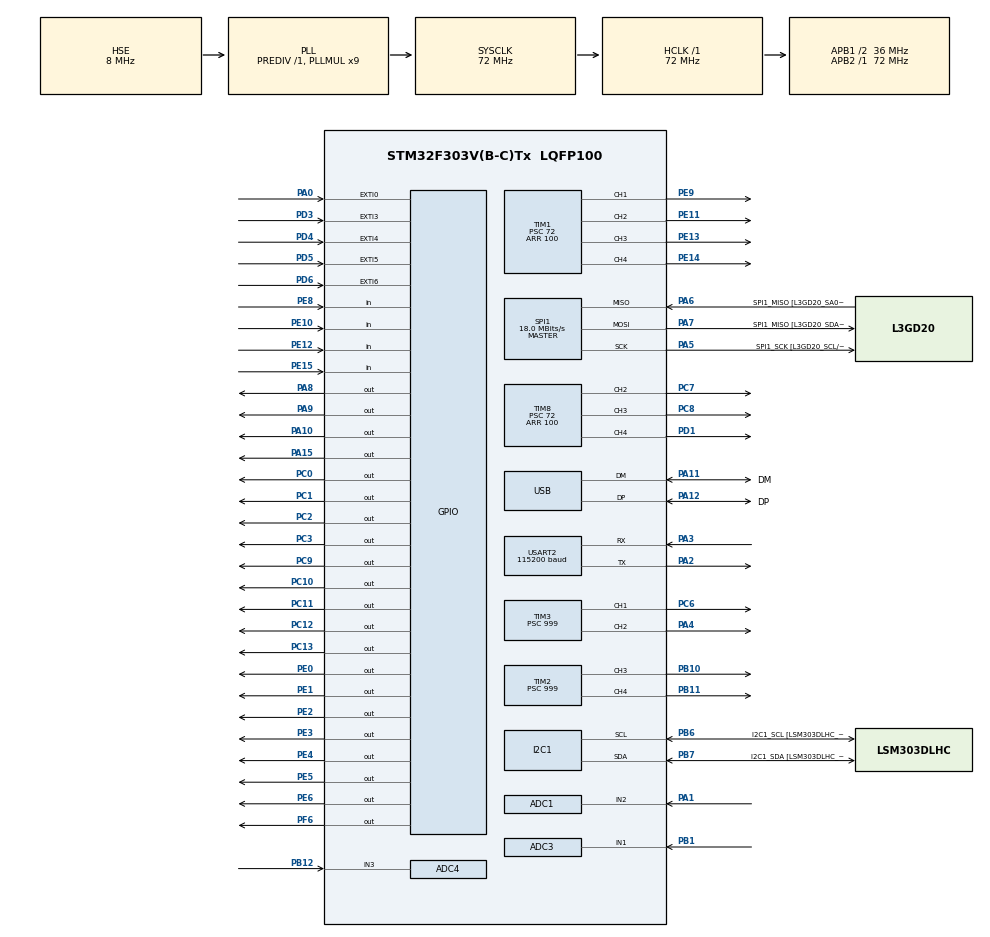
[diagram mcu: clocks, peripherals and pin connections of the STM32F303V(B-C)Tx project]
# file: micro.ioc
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ADC1.Channel-0\#ChannelRegularConversion=ADC_CHANNEL_2
ADC1.ClockPrescaler=ADC_CLOCK_ASYNC_DIV1
ADC1.ContinuousConvMode=DISABLE
ADC1.DMAContinuousRequests=DISABLE
ADC1.DataAlign=ADC_DATAALIGN_RIGHT
ADC1.DiscontinuousConvMode=DISABLE
ADC1.EOCSelection=ADC_EOC_SINGLE_CONV
ADC1.EnableAnalogWatchDog1=false
ADC1.EnableAnalogWatchDog2=false
ADC1.EnableAnalogWatchDog3=false
ADC1.EnableInjectedConversion=ENABLE
ADC1.EnableRegularConversion=ENABLE
ADC1.ExternalTrigConv=ADC_SOFTWARE_START
ADC1.ExternalTrigConvEdge=ADC_EXTERNALTRIGCONVEDGE_NONE
ADC1.InjNumberOfConversion=0
ADC1.LowPowerAutoWait=DISABLE
ADC1.NbrOfConversion=1
ADC1.NbrOfConversionFlag=1
ADC1.Offset-0\#ChannelRegularConversion=0
ADC1.OffsetNumber-0\#ChannelRegularConversion=ADC_OFFSET_NONE
ADC1.Overrun=ADC_OVR_DATA_OVERWRITTEN
ADC1.Rank-0\#ChannelRegularConversion=1
ADC1.Resolution=ADC_RESOLUTION_6B
ADC1.SamplingTime-0\#ChannelRegularConversion=ADC_SAMPLETIME_601CYCLES_5
ADC1.ScanConvMode=ADC_SCAN_DISABLE
ADC1.master=1
ADC3.Channel-0\#ChannelRegularConversion=ADC_CHANNEL_1
ADC3.ClockPrescaler=ADC_CLOCK_ASYNC_DIV1
ADC3.ContinuousConvMode=DISABLE
ADC3.DMAContinuousRequests=DISABLE
ADC3.DataAlign=ADC_DATAALIGN_RIGHT
ADC3.DiscontinuousConvMode=DISABLE
ADC3.EOCSelection=ADC_EOC_SINGLE_CONV
ADC3.EnableAnalogWatchDog1=false
ADC3.EnableAnalogWatchDog2=false
ADC3.EnableAnalogWatchDog3=false
ADC3.EnableInjectedConversion=ENABLE
ADC3.EnableRegularConversion=ENABLE
ADC3.ExternalTrigConv=ADC_SOFTWARE_START
ADC3.ExternalTrigConvEdge=ADC_EXTERNALTRIGCONVEDGE_NONE
ADC3.InjNumberOfConversion=0
ADC3.LowPowerAutoWait=DISABLE
ADC3.NbrOfConversion=1
ADC3.NbrOfConversionFlag=1
ADC3.Offset-0\#ChannelRegularConversion=0
ADC3.OffsetNumber-0\#ChannelRegularConversion=ADC_OFFSET_NONE
ADC3.Overrun=ADC_OVR_DATA_OVERWRITTEN
ADC3.Rank-0\#ChannelRegularConversion=1
ADC3.Resolution=ADC_RESOLUTION_6B
ADC3.SamplingTime-0\#ChannelRegularConversion=ADC_SAMPLETIME_601CYCLES_5
ADC3.ScanConvMode=ADC_SCAN_DISABLE
ADC3.master=1
ADC4.Channel-0\#ChannelRegularConversion=ADC_CHANNEL_3
ADC4.ClockPrescaler=ADC_CLOCK_ASYNC_DIV1
ADC4.ContinuousConvMode=DISABLE
ADC4.DMAContinuousRequests=DISABLE
ADC4.DataAlign=ADC_DATAALIGN_RIGHT
ADC4.DiscontinuousConvMode=DISABLE
ADC4.EOCSelection=ADC_EOC_SINGLE_CONV
ADC4.EnableAnalogWatchDog1=false
ADC4.EnableAnalogWatchDog2=false
ADC4.EnableAnalogWatchDog3=false
ADC4.EnableInjectedConversion=ENABLE
ADC4.EnableRegularConversion=ENABLE
ADC4.ExternalTrigConv=ADC_SOFTWARE_START
ADC4.ExternalTrigConvEdge=ADC_EXTERNALTRIGCONVEDGE_NONE
ADC4.InjNumberOfConversion=0
ADC4.LowPowerAutoWait=DISABLE
ADC4.NbrOfConversion=1
ADC4.NbrOfConversionFlag=1
ADC4.Offset-0\#ChannelRegularConversion=0
ADC4.OffsetNumber-0\#ChannelRegularConversion=ADC_OFFSET_NONE
ADC4.Overrun=ADC_OVR_DATA_OVERWRITTEN
ADC4.Rank-0\#ChannelRegularConversion=1
ADC4.Resolution=ADC_RESOLUTION_12B
ADC4.SamplingTime-0\#ChannelRegularConversion=ADC_SAMPLETIME_601CYCLES_5
ADC4.ScanConvMode=ADC_SCAN_DISABLE
I2C1.Timing-I2C=0x2000090E
Mcu.Family=STM32F3
Mcu.Name=STM32F303V(B-C)Tx
Mcu.Package=LQFP100
NVIC.ADC1_2_IRQn=true\:3\:3\:true\:false\:true\:true
NVIC.ADC3_IRQn=true\:3\:0\:true\:false\:true\:true
NVIC.ADC4_IRQn=true\:2\:1\:true\:false\:true\:true
NVIC.EXTI0_IRQn=true\:1\:1\:true\:false\:true\:true
NVIC.EXTI3_IRQn=true\:1\:1\:true\:false\:true\:true
NVIC.EXTI4_IRQn=true\:1\:1\:true\:false\:true\:true
NVIC.EXTI9_5_IRQn=true\:1\:1\:true\:false\:true\:true
NVIC.PriorityGroup=NVIC_PRIORITYGROUP_2
NVIC.TIM2_IRQn=true\:2\:3\:true\:false\:true\:true
NVIC.TIM3_IRQn=true\:1\:0\:true\:false\:true\:true
NVIC.TIM4_IRQn=true\:1\:1\:true\:false\:true\:true
NVIC.USART2_IRQn=true\:1\:2\:true\:false\:true\:true
PA0.GPIO_PuPd=GPIO_PULLDOWN
PA0.Signal=GPXTI0
PA1.Mode=IN2-Single-Ended
PA1.Signal=ADC1_IN2
PA10.Signal=GPIO_Output
PA11.GPIO_Label=DM
PA11.Mode=Device
PA11.Signal=USB_DM
PA12.GPIO_Label=DP
PA12.Mode=Device
PA12.Signal=USB_DP
PA13.GPIO_Label=SWDIO
PA13.Mode=Serial_Wire
PA13.Signal=SYS_JTMS-SWDIO
PA14.GPIO_Label=SWCLK
PA14.Mode=Serial_Wire
PA14.Signal=SYS_JTCK-SWCLK
PA15.Signal=GPIO_Output
PA2.Mode=Asynchronous
PA2.Signal=USART2_TX
PA3.Mode=Asynchronous
PA3.Signal=USART2_RX
PA4.Signal=S_TIM3_CH2
PA5.GPIO_Label=SPI1_SCK [L3GD20_SCL/SPC]
PA5.Mode=Full_Duplex_Master
PA5.Signal=SPI1_SCK
PA6.GPIO_Label=SPI1_MISO [L3GD20_SA0/SDO]
PA6.Mode=Full_Duplex_Master
PA6.Signal=SPI1_MISO
PA7.GPIO_Label=SPI1_MISO [L3GD20_SDA/SDI/SDO]
PA7.Mode=Full_Duplex_Master
PA7.Signal=SPI1_MOSI
PA8.Signal=GPIO_Output
PA9.Signal=GPIO_Output
PB1.Mode=IN1-Single-Ended
PB1.Signal=ADC3_IN1
PB10.Signal=S_TIM2_CH3
PB11.Signal=S_TIM2_CH4
PB12.Mode=IN3-Single-Ended
PB12.Signal=ADC4_IN3
PB3.GPIO_Label=SWO
PB3.Signal=SYS_JTDO-TRACESWO
PB6.GPIO_Label=I2C1_SCL [LSM303DLHC_SCL]
PB6.Mode=I2C
PB6.Signal=I2C1_SCL
PB7.GPIO_Label=I2C1_SDA [LSM303DLHC_SDA]
PB7.Mode=I2C
PB7.Signal=I2C1_SDA
PC0.GPIO_PuPd=GPIO_NOPULL
PC0.Signal=GPIO_Output
PC1.Signal=GPIO_Output
PC10.Signal=GPIO_Output
PC11.Signal=GPIO_Output
PC12.Signal=GPIO_Output
PC13.Signal=GPIO_Output
PC14-OSC32_IN.GPIO_Label=OSC32_IN
PC14-OSC32_IN.Signal=RCC_OSC32_IN
PC15-OSC32_OUT.GPIO_Label=OSC32_OUT
PC15-OSC32_OUT.Signal=RCC_OSC32_OUT
PC2.Signal=GPIO_Output
PC3.Signal=GPIO_Output
PC6.Signal=S_TIM3_CH1
PC7.Signal=S_TIM8_CH2
PC8.Signal=S_TIM8_CH3
PC9.Signal=GPIO_Output
PD1.Signal=S_TIM8_CH4
PD3.GPIO_PuPd=GPIO_PULLDOWN
PD3.Signal=GPXTI3
PD4.GPIO_PuPd=GPIO_PULLDOWN
PD4.Signal=GPXTI4
PD5.GPIO_PuPd=GPIO_PULLDOWN
PD5.Signal=GPXTI5
PD6.GPIO_PuPd=GPIO_PULLDOWN
PD6.Signal=GPXTI6
PE0.Signal=GPIO_Output
PE1.Signal=GPIO_Output
PE10.Signal=GPIO_Input
PE11.Signal=S_TIM1_CH2
PE12.Signal=GPIO_Input
PE13.Signal=S_TIM1_CH3
PE14.Signal=S_TIM1_CH4
PE15.Signal=GPIO_Input
PE2.Signal=GPIO_Output
PE3.Signal=GPIO_Output
PE4.Signal=GPIO_Output
PE5.Signal=GPIO_Output
PE6.Signal=GPIO_Output
PE8.Signal=GPIO_Input
PE9.Signal=S_TIM1_CH1
PF0-OSC_IN.GPIO_Label=OSC_IN
PF0-OSC_IN.Mode=HSE-External-Clock-Source
PF0-OSC_IN.Signal=RCC_OSC_IN
PF1-OSC_OUT.GPIO_Label=OSC_OUT
PF1-OSC_OUT.Signal=RCC_OSC_OUT
PF6.Signal=GPIO_Output
ProjectManager.HeapSize=0x200
ProjectManager.StackSize=0x400
ProjectManager.TargetToolchain=MDK-ARM V5
RCC.AHBFreq_Value=72000000
RCC.APB1CLKDivider=RCC_HCLK_DIV2
RCC.APB1Freq_Value=36000000
RCC.APB1TimFreq_Value=72000000
RCC.APB2Freq_Value=72000000
RCC.APB2TimFreq_Value=72000000
RCC.CortexFreq_Value=72000000
RCC.HCLKFreq_Value=72000000
RCC.HSE_VALUE=8000000
RCC.HSI_VALUE=8000000
RCC.LSE_VALUE=32768
RCC.PLLMUL=RCC_PLL_MUL9
RCC.PRESCALERUSB=RCC_USBCLKSOURCE_PLL_DIV1_5
RCC.SYSCLKFreq_VALUE=72000000
RCC.SYSCLKSourceVirtual=RCC_SYSCLKSOURCE_PLLCLK
RCC.USBFreq_Value=48000000
SH.S_TIM1_CH1.0=TIM1_CH1,PWM Generation1 CH1
SH.S_TIM1_CH2.0=TIM1_CH2,PWM Generation2 CH2
SH.S_TIM1_CH3.0=TIM1_CH3,PWM Generation3 CH3
SH.S_TIM1_CH4.0=TIM1_CH4,PWM Generation4 CH4
SH.S_TIM2_CH3.0=TIM2_CH3,PWM Generation3 CH3
SH.S_TIM2_CH4.0=TIM2_CH4,PWM Generation4 CH4
SH.S_TIM3_CH1.0=TIM3_CH1,PWM Generation1 CH1
SH.S_TIM3_CH2.0=TIM3_CH2,PWM Generation2 CH2
SH.S_TIM8_CH2.0=TIM8_CH2,PWM Generation2 CH2
SH.S_TIM8_CH3.0=TIM8_CH3,PWM Generation3 CH3
SH.S_TIM8_CH4.0=TIM8_CH4,PWM Generation4 CH4
SPI1.BaudRatePrescaler=SPI_BAUDRATEPRESCALER_4
SPI1.BaudRatePrescaler-Full_Duplex_Master=SPI_BAUDRATEPRESCALER_2
SPI1.CalculateBaudRate=18.0 MBits/s
SPI1.CalculateBaudRate-Full_Duplex_Master=24.0 MBits/s
SPI1.Direction=SPI_DIRECTION_2LINES
SPI1.Mode=SPI_MODE_MASTER
SPI1.Mode-Full_Duplex_Master=SPI_MODE_MASTER
SPI1.VirtualType=VM_MASTER
TIM1.Channel-PWM\ Generation1\ CH1=TIM_CHANNEL_1
TIM1.Channel-PWM\ Generation2\ CH2=TIM_CHANNEL_2
TIM1.Channel-PWM\ Generation3\ CH3=TIM_CHANNEL_3
TIM1.Channel-PWM\ Generation4\ CH4=TIM_CHANNEL_4
TIM1.Period=100
TIM1.Prescaler=72
TIM2.Channel-PWM\ Generation3\ CH3=TIM_CHANNEL_3
TIM2.Channel-PWM\ Generation4\ CH4=TIM_CHANNEL_4
TIM2.Period=720
TIM2.Prescaler=999
TIM3.Channel-PWM\ Generation1\ CH1=TIM_CHANNEL_1
TIM3.Channel-PWM\ Generation2\ CH2=TIM_CHANNEL_2
TIM3.Period=72
TIM3.Prescaler=999
TIM4.Period=1080
TIM4.Prescaler=999
TIM8.Channel-PWM\ Generation2\ CH2=TIM_CHANNEL_2
TIM8.Channel-PWM\ Generation3\ CH3=TIM_CHANNEL_3
TIM8.Channel-PWM\ Generation4\ CH4=TIM_CHANNEL_4
TIM8.Period=100
TIM8.Prescaler=72
USART2.BaudRate=115200
USART2.VirtualMode-Asynchronous=VM_ASYNC
VP_TIM1_VS_ClockSourceINT.Mode=Internal
VP_TIM2_VS_ClockSourceINT.Mode=Internal
VP_TIM3_VS_ClockSourceINT.Mode=Internal
VP_TIM4_VS_ClockSourceINT.Mode=Internal
VP_TIM8_VS_ClockSourceINT.Mode=Internal
board=STM32F3DISCOVERY

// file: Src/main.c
/**
  ******************************************************************************
  * @file           : main.c
  * @brief          : Main program body
  ******************************************************************************
  ** This notice applies to any and all portions of this file
  * that are not between comment pairs USER CODE BEGIN and
  * USER CODE END. Other portions of this file, whether
  * inserted by the user or by software development tools
  * are owned by their respective copyright owners.
  *
  * COPYRIGHT(c) 2019 STMicroelectronics
  *
  * Redistribution and use in source and binary forms, with or without modification,
  * are permitted provided that the following conditions are met:
  *   1. Redistributions of source code must retain the above copyright notice,
  *      this list of conditions and the following disclaimer.
  *   2. Redistributions in binary form must reproduce the above copyright notice,
  *      this list of conditions and the following disclaimer in the documentation
  *      and/or other materials provided with the distribution.
  *   3. Neither the name of STMicroelectronics nor the names of its contributors
  *      may be used to endorse or promote products derived from this software
  *      without specific prior written permission.
  *
  * THIS SOFTWARE IS PROVIDED BY THE COPYRIGHT HOLDERS AND CONTRIBUTORS "AS IS"
  * AND ANY EXPRESS OR IMPLIED WARRANTIES, INCLUDING, BUT NOT LIMITED TO, THE
  * IMPLIED WARRANTIES OF MERCHANTABILITY AND FITNESS FOR A PARTICULAR PURPOSE ARE
  * DISCLAIMED. IN NO EVENT SHALL THE COPYRIGHT HOLDER OR CONTRIBUTORS BE LIABLE
  * FOR ANY DIRECT, INDIRECT, INCIDENTAL, SPECIAL, EXEMPLARY, OR CONSEQUENTIAL
  * DAMAGES (INCLUDING, BUT NOT LIMITED TO, PROCUREMENT OF SUBSTITUTE GOODS OR
  * SERVICES; LOSS OF USE, DATA, OR PROFITS; OR BUSINESS INTERRUPTION) HOWEVER
  * CAUSED AND ON ANY THEORY OF LIABILITY, WHETHER IN CONTRACT, STRICT LIABILITY,
  * OR TORT (INCLUDING NEGLIGENCE OR OTHERWISE) ARISING IN ANY WAY OUT OF THE USE
  * OF THIS SOFTWARE, EVEN IF ADVISED OF THE POSSIBILITY OF SUCH DAMAGE.
  *
  ******************************************************************************
  */
#include "main.h"
#include "stm32f3xx_hal.h"

/* USER CODE BEGIN Includes */
#include "LiquidCrystal.h"
#include "uartUtil.h"
typedef unsigned char byte;
unsigned char data;
/* USER CODE END Includes */

ADC_HandleTypeDef hadc1;
ADC_HandleTypeDef hadc3;
ADC_HandleTypeDef hadc4;

I2C_HandleTypeDef hi2c1;

SPI_HandleTypeDef hspi1;

TIM_HandleTypeDef htim1;
TIM_HandleTypeDef htim2;
TIM_HandleTypeDef htim3;
TIM_HandleTypeDef htim4;
TIM_HandleTypeDef htim8;

UART_HandleTypeDef huart2;

PCD_HandleTypeDef hpcd_USB_FS;

/* USER CODE BEGIN PV */
/* Private variables ---------------------------------------------------------*/
byte zomby1[] = {
  0x04,
  0x0A,
  0x04,
  0x14,
  0x0E,
  0x05,
  0x04,
  0x1B
};

byte zomby2[] = {
  0x04,
  0x0E,
  0x04,
  0x1F,
  0x04,
  0x0E,
  0x0A,
  0x1B
};

byte zomby0[] = {
  0x00,
  0x00,
  0x04,
  0x0A,
  0x04,
  0x1F,
  0x04,
  0x1B
};

byte zomby3[] = {
  0x0E,
  0x1B,
  0x0E,
  0x04,
  0x1F,
  0x04,
  0x0E,
  0x1B
};

byte plant1[] = {
	0x04,
  0x0A,
  0x11,
  0x0A,
  0x04,
  0x04,
  0x04,
  0x04
};

byte plant2[] = {
	0x00,
  0x0E,
  0x11,
  0x1F,
  0x04,
  0x04,
  0x04,
  0x04
};

byte plant3[] = {
	0x1F,
  0x1B,
  0x11,
  0x1B,
  0x1B,
  0x1B,
  0x1B,
  0x1B
};

byte bonus[] = {
	0x00,
  0x04,
  0x0A,
  0x15,
  0x0A,
  0x15,
  0x04,
  0x04
};
/* USER CODE END PV */

void SystemClock_Config(void);
static void MX_GPIO_Init(void);
static void MX_I2C1_Init(void);
static void MX_SPI1_Init(void);
static void MX_USB_PCD_Init(void);
static void MX_ADC1_Init(void);
static void MX_ADC3_Init(void);
static void MX_TIM2_Init(void);
static void MX_ADC4_Init(void);
static void MX_USART2_UART_Init(void);
static void MX_TIM3_Init(void);
static void MX_TIM4_Init(void);
static void MX_TIM8_Init(void);
static void MX_TIM1_Init(void);

void HAL_TIM_MspPostInit(TIM_HandleTypeDef *htim);

/* USER CODE BEGIN PFP */
/* Private function prototypes -----------------------------------------------*/
void HAL_UART_RxCpltCallback(UART_HandleTypeDef *huart){
	if(huart->Instance == USART2){
		fill_buffer(data);
		HAL_UART_Receive_IT(&huart2, &data, sizeof(data));
	}
}
/* USER CODE END PFP */

int main(void)
{

  /* MCU Configuration----------------------------------------------------------*/

  /* Reset of all peripherals, Initializes the Flash interface and the Systick. */
  HAL_Init();

  /* Configure the system clock */
  SystemClock_Config();

  /* Initialize all configured peripherals */
  MX_GPIO_Init();
  MX_I2C1_Init();
  MX_SPI1_Init();
  MX_USB_PCD_Init();
  MX_ADC1_Init();
  MX_ADC3_Init();
  MX_TIM2_Init();
  MX_ADC4_Init();
  MX_USART2_UART_Init();
  MX_TIM3_Init();
  MX_TIM4_Init();
  MX_TIM8_Init();
  MX_TIM1_Init();
  /* USER CODE BEGIN 2 */
	LiquidCrystal(GPIOD, GPIO_PIN_8, GPIO_PIN_9, GPIO_PIN_10, GPIO_PIN_11, GPIO_PIN_12, GPIO_PIN_13, GPIO_PIN_14);
	begin(20,4);

	createChar(0, zomby0);
	createChar(1, zomby1);
	createChar(2, zomby2);
	createChar(3, zomby3);

	createChar(4, plant1);
	createChar(5, plant2);
	createChar(6, plant3);

	createChar(7, bonus);

	HAL_GPIO_WritePin(GPIOC, GPIO_PIN_0, 1);
	HAL_GPIO_WritePin(GPIOC, GPIO_PIN_1, 1);
	HAL_GPIO_WritePin(GPIOC, GPIO_PIN_2, 1);
	HAL_GPIO_WritePin(GPIOC, GPIO_PIN_3, 1);

	HAL_UART_Receive_IT(&huart2, &data, sizeof(data));
	HAL_TIM_Base_Start_IT(&htim2);
  /* USER CODE END 2 */

  /* Infinite loop */
  while (1)
  {

  }

}

void SystemClock_Config(void)
{

  RCC_OscInitTypeDef RCC_OscInitStruct;
  RCC_ClkInitTypeDef RCC_ClkInitStruct;
  RCC_PeriphCLKInitTypeDef PeriphClkInit;

    /**Initializes the CPU, AHB and APB busses clocks
    */
  RCC_OscInitStruct.OscillatorType = RCC_OSCILLATORTYPE_HSI|RCC_OSCILLATORTYPE_HSE;
  RCC_OscInitStruct.HSEState = RCC_HSE_BYPASS;
  RCC_OscInitStruct.HSEPredivValue = RCC_HSE_PREDIV_DIV1;
  RCC_OscInitStruct.HSIState = RCC_HSI_ON;
  RCC_OscInitStruct.HSICalibrationValue = 16;
  RCC_OscInitStruct.PLL.PLLState = RCC_PLL_ON;
  RCC_OscInitStruct.PLL.PLLSource = RCC_PLLSOURCE_HSE;
  RCC_OscInitStruct.PLL.PLLMUL = RCC_PLL_MUL9;
  if (HAL_RCC_OscConfig(&RCC_OscInitStruct) != HAL_OK)
  {
    _Error_Handler(__FILE__, __LINE__);
  }

    /**Initializes the CPU, AHB and APB busses clocks
    */
  RCC_ClkInitStruct.ClockType = RCC_CLOCKTYPE_HCLK|RCC_CLOCKTYPE_SYSCLK
                              |RCC_CLOCKTYPE_PCLK1|RCC_CLOCKTYPE_PCLK2;
  RCC_ClkInitStruct.SYSCLKSource = RCC_SYSCLKSOURCE_PLLCLK;
  RCC_ClkInitStruct.AHBCLKDivider = RCC_SYSCLK_DIV1;
  RCC_ClkInitStruct.APB1CLKDivider = RCC_HCLK_DIV2;
  RCC_ClkInitStruct.APB2CLKDivider = RCC_HCLK_DIV1;

  if (HAL_RCC_ClockConfig(&RCC_ClkInitStruct, FLASH_LATENCY_2) != HAL_OK)
  {
    _Error_Handler(__FILE__, __LINE__);
  }

  PeriphClkInit.PeriphClockSelection = RCC_PERIPHCLK_USB|RCC_PERIPHCLK_USART2
                              |RCC_PERIPHCLK_I2C1|RCC_PERIPHCLK_TIM1
                              |RCC_PERIPHCLK_TIM8|RCC_PERIPHCLK_ADC12
                              |RCC_PERIPHCLK_ADC34;
  PeriphClkInit.Usart2ClockSelection = RCC_USART2CLKSOURCE_PCLK1;
  PeriphClkInit.Adc12ClockSelection = RCC_ADC12PLLCLK_DIV1;
  PeriphClkInit.Adc34ClockSelection = RCC_ADC34PLLCLK_DIV1;
  PeriphClkInit.I2c1ClockSelection = RCC_I2C1CLKSOURCE_HSI;
  PeriphClkInit.USBClockSelection = RCC_USBCLKSOURCE_PLL_DIV1_5;
  PeriphClkInit.Tim1ClockSelection = RCC_TIM1CLK_HCLK;
  PeriphClkInit.Tim8ClockSelection = RCC_TIM8CLK_HCLK;
  if (HAL_RCCEx_PeriphCLKConfig(&PeriphClkInit) != HAL_OK)
  {
    _Error_Handler(__FILE__, __LINE__);
  }

    /**Configure the Systick interrupt time
    */
  HAL_SYSTICK_Config(HAL_RCC_GetHCLKFreq()/1000);

    /**Configure the Systick
    */
  HAL_SYSTICK_CLKSourceConfig(SYSTICK_CLKSOURCE_HCLK);

  /* SysTick_IRQn interrupt configuration */
  HAL_NVIC_SetPriority(SysTick_IRQn, 0, 0);
}

/* ADC1 init function */
static void MX_ADC1_Init(void)
{

  ADC_MultiModeTypeDef multimode;
  ADC_ChannelConfTypeDef sConfig;

    /**Common config
    */
  hadc1.Instance = ADC1;
  hadc1.Init.ClockPrescaler = ADC_CLOCK_ASYNC_DIV1;
  hadc1.Init.Resolution = ADC_RESOLUTION_6B;
  hadc1.Init.ScanConvMode = ADC_SCAN_DISABLE;
  hadc1.Init.ContinuousConvMode = DISABLE;
  hadc1.Init.DiscontinuousConvMode = DISABLE;
  hadc1.Init.ExternalTrigConvEdge = ADC_EXTERNALTRIGCONVEDGE_NONE;
  hadc1.Init.ExternalTrigConv = ADC_SOFTWARE_START;
  hadc1.Init.DataAlign = ADC_DATAALIGN_RIGHT;
  hadc1.Init.NbrOfConversion = 1;
  hadc1.Init.DMAContinuousRequests = DISABLE;
  hadc1.Init.EOCSelection = ADC_EOC_SINGLE_CONV;
  hadc1.Init.LowPowerAutoWait = DISABLE;
  hadc1.Init.Overrun = ADC_OVR_DATA_OVERWRITTEN;
  if (HAL_ADC_Init(&hadc1) != HAL_OK)
  {
    _Error_Handler(__FILE__, __LINE__);
  }

    /**Configure the ADC multi-mode
    */
  multimode.Mode = ADC_MODE_INDEPENDENT;
  if (HAL_ADCEx_MultiModeConfigChannel(&hadc1, &multimode) != HAL_OK)
  {
    _Error_Handler(__FILE__, __LINE__);
  }

    /**Configure Regular Channel
    */
  sConfig.Channel = ADC_CHANNEL_2;
  sConfig.Rank = ADC_REGULAR_RANK_1;
  sConfig.SingleDiff = ADC_SINGLE_ENDED;
  sConfig.SamplingTime = ADC_SAMPLETIME_601CYCLES_5;
  sConfig.OffsetNumber = ADC_OFFSET_NONE;
  sConfig.Offset = 0;
  if (HAL_ADC_ConfigChannel(&hadc1, &sConfig) != HAL_OK)
  {
    _Error_Handler(__FILE__, __LINE__);
  }

}

/* ADC3 init function */
static void MX_ADC3_Init(void)
{

  ADC_MultiModeTypeDef multimode;
  ADC_ChannelConfTypeDef sConfig;

    /**Common config
    */
  hadc3.Instance = ADC3;
  hadc3.Init.ClockPrescaler = ADC_CLOCK_ASYNC_DIV1;
  hadc3.Init.Resolution = ADC_RESOLUTION_6B;
  hadc3.Init.ScanConvMode = ADC_SCAN_DISABLE;
  hadc3.Init.ContinuousConvMode = DISABLE;
  hadc3.Init.DiscontinuousConvMode = DISABLE;
  hadc3.Init.ExternalTrigConvEdge = ADC_EXTERNALTRIGCONVEDGE_NONE;
  hadc3.Init.ExternalTrigConv = ADC_SOFTWARE_START;
  hadc3.Init.DataAlign = ADC_DATAALIGN_RIGHT;
  hadc3.Init.NbrOfConversion = 1;
  hadc3.Init.DMAContinuousRequests = DISABLE;
  hadc3.Init.EOCSelection = ADC_EOC_SINGLE_CONV;
  hadc3.Init.LowPowerAutoWait = DISABLE;
  hadc3.Init.Overrun = ADC_OVR_DATA_OVERWRITTEN;
  if (HAL_ADC_Init(&hadc3) != HAL_OK)
  {
    _Error_Handler(__FILE__, __LINE__);
  }

    /**Configure the ADC multi-mode
    */
  multimode.Mode = ADC_MODE_INDEPENDENT;
  if (HAL_ADCEx_MultiModeConfigChannel(&hadc3, &multimode) != HAL_OK)
  {
    _Error_Handler(__FILE__, __LINE__);
  }

    /**Configure Regular Channel
    */
  sConfig.Channel = ADC_CHANNEL_1;
  sConfig.Rank = ADC_REGULAR_RANK_1;
  sConfig.SingleDiff = ADC_SINGLE_ENDED;
  sConfig.SamplingTime = ADC_SAMPLETIME_601CYCLES_5;
  sConfig.OffsetNumber = ADC_OFFSET_NONE;
  sConfig.Offset = 0;
  if (HAL_ADC_ConfigChannel(&hadc3, &sConfig) != HAL_OK)
  {
    _Error_Handler(__FILE__, __LINE__);
  }

}

/* ADC4 init function */
static void MX_ADC4_Init(void)
{

  ADC_ChannelConfTypeDef sConfig;

    /**Common config
    */
  hadc4.Instance = ADC4;
  hadc4.Init.ClockPrescaler = ADC_CLOCK_ASYNC_DIV1;
  hadc4.Init.Resolution = ADC_RESOLUTION_12B;
  hadc4.Init.ScanConvMode = ADC_SCAN_DISABLE;
  hadc4.Init.ContinuousConvMode = DISABLE;
  hadc4.Init.DiscontinuousConvMode = DISABLE;
  hadc4.Init.ExternalTrigConvEdge = ADC_EXTERNALTRIGCONVEDGE_NONE;
  hadc4.Init.ExternalTrigConv = ADC_SOFTWARE_START;
  hadc4.Init.DataAlign = ADC_DATAALIGN_RIGHT;
  hadc4.Init.NbrOfConversion = 1;
  hadc4.Init.DMAContinuousRequests = DISABLE;
  hadc4.Init.EOCSelection = ADC_EOC_SINGLE_CONV;
  hadc4.Init.LowPowerAutoWait = DISABLE;
  hadc4.Init.Overrun = ADC_OVR_DATA_OVERWRITTEN;
  if (HAL_ADC_Init(&hadc4) != HAL_OK)
  {
    _Error_Handler(__FILE__, __LINE__);
  }

    /**Configure Regular Channel
    */
  sConfig.Channel = ADC_CHANNEL_3;
  sConfig.Rank = ADC_REGULAR_RANK_1;
  sConfig.SingleDiff = ADC_SINGLE_ENDED;
  sConfig.SamplingTime = ADC_SAMPLETIME_601CYCLES_5;
  sConfig.OffsetNumber = ADC_OFFSET_NONE;
  sConfig.Offset = 0;
  if (HAL_ADC_ConfigChannel(&hadc4, &sConfig) != HAL_OK)
  {
    _Error_Handler(__FILE__, __LINE__);
  }

}

/* I2C1 init function */
static void MX_I2C1_Init(void)
{

  hi2c1.Instance = I2C1;
  hi2c1.Init.Timing = 0x2000090E;
  hi2c1.Init.OwnAddress1 = 0;
  hi2c1.Init.AddressingMode = I2C_ADDRESSINGMODE_7BIT;
  hi2c1.Init.DualAddressMode = I2C_DUALADDRESS_DISABLE;
  hi2c1.Init.OwnAddress2 = 0;
  hi2c1.Init.OwnAddress2Masks = I2C_OA2_NOMASK;
  hi2c1.Init.GeneralCallMode = I2C_GENERALCALL_DISABLE;
  hi2c1.Init.NoStretchMode = I2C_NOSTRETCH_DISABLE;
  if (HAL_I2C_Init(&hi2c1) != HAL_OK)
  {
    _Error_Handler(__FILE__, __LINE__);
  }

    /**Configure Analogue filter
    */
  if (HAL_I2CEx_ConfigAnalogFilter(&hi2c1, I2C_ANALOGFILTER_ENABLE) != HAL_OK)
  {
    _Error_Handler(__FILE__, __LINE__);
  }

    /**Configure Digital filter
    */
  if (HAL_I2CEx_ConfigDigitalFilter(&hi2c1, 0) != HAL_OK)
  {
    _Error_Handler(__FILE__, __LINE__);
  }

}

/* SPI1 init function */
static void MX_SPI1_Init(void)
{

  /* SPI1 parameter configuration*/
  hspi1.Instance = SPI1;
  hspi1.Init.Mode = SPI_MODE_MASTER;
  hspi1.Init.Direction = SPI_DIRECTION_2LINES;
  hspi1.Init.DataSize = SPI_DATASIZE_4BIT;
  hspi1.Init.CLKPolarity = SPI_POLARITY_LOW;
  hspi1.Init.CLKPhase = SPI_PHASE_1EDGE;
  hspi1.Init.NSS = SPI_NSS_SOFT;
  hspi1.Init.BaudRatePrescaler = SPI_BAUDRATEPRESCALER_4;
  hspi1.Init.FirstBit = SPI_FIRSTBIT_MSB;
  hspi1.Init.TIMode = SPI_TIMODE_DISABLE;
  hspi1.Init.CRCCalculation = SPI_CRCCALCULATION_DISABLE;
  hspi1.Init.CRCPolynomial = 7;
  hspi1.Init.CRCLength = SPI_CRC_LENGTH_DATASIZE;
  hspi1.Init.NSSPMode = SPI_NSS_PULSE_ENABLE;
  if (HAL_SPI_Init(&hspi1) != HAL_OK)
  {
    _Error_Handler(__FILE__, __LINE__);
  }

}

/* TIM1 init function */
static void MX_TIM1_Init(void)
{

  TIM_ClockConfigTypeDef sClockSourceConfig;
  TIM_MasterConfigTypeDef sMasterConfig;
  TIM_OC_InitTypeDef sConfigOC;
  TIM_BreakDeadTimeConfigTypeDef sBreakDeadTimeConfig;

  htim1.Instance = TIM1;
  htim1.Init.Prescaler = 72;
  htim1.Init.CounterMode = TIM_COUNTERMODE_UP;
  htim1.Init.Period = 100;
  htim1.Init.ClockDivision = TIM_CLOCKDIVISION_DIV1;
  htim1.Init.RepetitionCounter = 0;
  htim1.Init.AutoReloadPreload = TIM_AUTORELOAD_PRELOAD_DISABLE;
  if (HAL_TIM_Base_Init(&htim1) != HAL_OK)
  {
    _Error_Handler(__FILE__, __LINE__);
  }

  sClockSourceConfig.ClockSource = TIM_CLOCKSOURCE_INTERNAL;
  if (HAL_TIM_ConfigClockSource(&htim1, &sClockSourceConfig) != HAL_OK)
  {
    _Error_Handler(__FILE__, __LINE__);
  }

  if (HAL_TIM_PWM_Init(&htim1) != HAL_OK)
  {
    _Error_Handler(__FILE__, __LINE__);
  }

  sMasterConfig.MasterOutputTrigger = TIM_TRGO_RESET;
  sMasterConfig.MasterOutputTrigger2 = TIM_TRGO2_RESET;
  sMasterConfig.MasterSlaveMode = TIM_MASTERSLAVEMODE_DISABLE;
  if (HAL_TIMEx_MasterConfigSynchronization(&htim1, &sMasterConfig) != HAL_OK)
  {
    _Error_Handler(__FILE__, __LINE__);
  }

  sConfigOC.OCMode = TIM_OCMODE_PWM1;
  sConfigOC.Pulse = 0;
  sConfigOC.OCPolarity = TIM_OCPOLARITY_HIGH;
  sConfigOC.OCNPolarity = TIM_OCNPOLARITY_HIGH;
  sConfigOC.OCFastMode = TIM_OCFAST_DISABLE;
  sConfigOC.OCIdleState = TIM_OCIDLESTATE_RESET;
  sConfigOC.OCNIdleState = TIM_OCNIDLESTATE_RESET;
  if (HAL_TIM_PWM_ConfigChannel(&htim1, &sConfigOC, TIM_CHANNEL_1) != HAL_OK)
  {
    _Error_Handler(__FILE__, __LINE__);
  }

  if (HAL_TIM_PWM_ConfigChannel(&htim1, &sConfigOC, TIM_CHANNEL_2) != HAL_OK)
  {
    _Error_Handler(__FILE__, __LINE__);
  }

  if (HAL_TIM_PWM_ConfigChannel(&htim1, &sConfigOC, TIM_CHANNEL_3) != HAL_OK)
  {
    _Error_Handler(__FILE__, __LINE__);
  }

  if (HAL_TIM_PWM_ConfigChannel(&htim1, &sConfigOC, TIM_CHANNEL_4) != HAL_OK)
  {
    _Error_Handler(__FILE__, __LINE__);
  }

  sBreakDeadTimeConfig.OffStateRunMode = TIM_OSSR_DISABLE;
  sBreakDeadTimeConfig.OffStateIDLEMode = TIM_OSSI_DISABLE;
  sBreakDeadTimeConfig.LockLevel = TIM_LOCKLEVEL_OFF;
  sBreakDeadTimeConfig.DeadTime = 0;
  sBreakDeadTimeConfig.BreakState = TIM_BREAK_DISABLE;
  sBreakDeadTimeConfig.BreakPolarity = TIM_BREAKPOLARITY_HIGH;
  sBreakDeadTimeConfig.BreakFilter = 0;
  sBreakDeadTimeConfig.Break2State = TIM_BREAK2_DISABLE;
  sBreakDeadTimeConfig.Break2Polarity = TIM_BREAK2POLARITY_HIGH;
  sBreakDeadTimeConfig.Break2Filter = 0;
  sBreakDeadTimeConfig.AutomaticOutput = TIM_AUTOMATICOUTPUT_DISABLE;
  if (HAL_TIMEx_ConfigBreakDeadTime(&htim1, &sBreakDeadTimeConfig) != HAL_OK)
  {
    _Error_Handler(__FILE__, __LINE__);
  }

  HAL_TIM_MspPostInit(&htim1);

}

/* TIM2 init function */
static void MX_TIM2_Init(void)
{

  TIM_ClockConfigTypeDef sClockSourceConfig;
  TIM_MasterConfigTypeDef sMasterConfig;
  TIM_OC_InitTypeDef sConfigOC;

  htim2.Instance = TIM2;
  htim2.Init.Prescaler = 999;
  htim2.Init.CounterMode = TIM_COUNTERMODE_UP;
  htim2.Init.Period = 720;
  htim2.Init.ClockDivision = TIM_CLOCKDIVISION_DIV1;
  htim2.Init.AutoReloadPreload = TIM_AUTORELOAD_PRELOAD_DISABLE;
  if (HAL_TIM_Base_Init(&htim2) != HAL_OK)
  {
    _Error_Handler(__FILE__, __LINE__);
  }

  sClockSourceConfig.ClockSource = TIM_CLOCKSOURCE_INTERNAL;
  if (HAL_TIM_ConfigClockSource(&htim2, &sClockSourceConfig) != HAL_OK)
  {
    _Error_Handler(__FILE__, __LINE__);
  }

  if (HAL_TIM_PWM_Init(&htim2) != HAL_OK)
  {
    _Error_Handler(__FILE__, __LINE__);
  }

  sMasterConfig.MasterOutputTrigger = TIM_TRGO_RESET;
  sMasterConfig.MasterSlaveMode = TIM_MASTERSLAVEMODE_DISABLE;
  if (HAL_TIMEx_MasterConfigSynchronization(&htim2, &sMasterConfig) != HAL_OK)
  {
    _Error_Handler(__FILE__, __LINE__);
  }

  sConfigOC.OCMode = TIM_OCMODE_PWM1;
  sConfigOC.Pulse = 0;
  sConfigOC.OCPolarity = TIM_OCPOLARITY_HIGH;
  sConfigOC.OCFastMode = TIM_OCFAST_DISABLE;
  if (HAL_TIM_PWM_ConfigChannel(&htim2, &sConfigOC, TIM_CHANNEL_3) != HAL_OK)
  {
    _Error_Handler(__FILE__, __LINE__);
  }

  if (HAL_TIM_PWM_ConfigChannel(&htim2, &sConfigOC, TIM_CHANNEL_4) != HAL_OK)
  {
    _Error_Handler(__FILE__, __LINE__);
  }

  HAL_TIM_MspPostInit(&htim2);

}

/* TIM3 init function */
static void MX_TIM3_Init(void)
{

  TIM_ClockConfigTypeDef sClockSourceConfig;
  TIM_MasterConfigTypeDef sMasterConfig;
  TIM_OC_InitTypeDef sConfigOC;

  htim3.Instance = TIM3;
  htim3.Init.Prescaler = 999;
  htim3.Init.CounterMode = TIM_COUNTERMODE_UP;
  htim3.Init.Period = 72;
  htim3.Init.ClockDivision = TIM_CLOCKDIVISION_DIV1;
  htim3.Init.AutoReloadPreload = TIM_AUTORELOAD_PRELOAD_DISABLE;
  if (HAL_TIM_Base_Init(&htim3) != HAL_OK)
  {
    _Error_Handler(__FILE__, __LINE__);
  }

  sClockSourceConfig.ClockSource = TIM_CLOCKSOURCE_INTERNAL;
  if (HAL_TIM_ConfigClockSource(&htim3, &sClockSourceConfig) != HAL_OK)
  {
    _Error_Handler(__FILE__, __LINE__);
  }

  if (HAL_TIM_PWM_Init(&htim3) != HAL_OK)
  {
    _Error_Handler(__FILE__, __LINE__);
  }

  sMasterConfig.MasterOutputTrigger = TIM_TRGO_RESET;
  sMasterConfig.MasterSlaveMode = TIM_MASTERSLAVEMODE_DISABLE;
  if (HAL_TIMEx_MasterConfigSynchronization(&htim3, &sMasterConfig) != HAL_OK)
  {
    _Error_Handler(__FILE__, __LINE__);
  }

  sConfigOC.OCMode = TIM_OCMODE_PWM1;
  sConfigOC.Pulse = 0;
  sConfigOC.OCPolarity = TIM_OCPOLARITY_HIGH;
  sConfigOC.OCFastMode = TIM_OCFAST_DISABLE;
  if (HAL_TIM_PWM_ConfigChannel(&htim3, &sConfigOC, TIM_CHANNEL_1) != HAL_OK)
  {
    _Error_Handler(__FILE__, __LINE__);
  }

  if (HAL_TIM_PWM_ConfigChannel(&htim3, &sConfigOC, TIM_CHANNEL_2) != HAL_OK)
  {
    _Error_Handler(__FILE__, __LINE__);
  }

  HAL_TIM_MspPostInit(&htim3);

}

/* TIM4 init function */
static void MX_TIM4_Init(void)
{

  TIM_ClockConfigTypeDef sClockSourceConfig;
  TIM_MasterConfigTypeDef sMasterConfig;

  htim4.Instance = TIM4;
  htim4.Init.Prescaler = 999;
  htim4.Init.CounterMode = TIM_COUNTERMODE_UP;
  htim4.Init.Period = 1080;
  htim4.Init.ClockDivision = TIM_CLOCKDIVISION_DIV1;
  htim4.Init.AutoReloadPreload = TIM_AUTORELOAD_PRELOAD_DISABLE;
  if (HAL_TIM_Base_Init(&htim4) != HAL_OK)
  {
    _Error_Handler(__FILE__, __LINE__);
  }

  sClockSourceConfig.ClockSource = TIM_CLOCKSOURCE_INTERNAL;
  if (HAL_TIM_ConfigClockSource(&htim4, &sClockSourceConfig) != HAL_OK)
  {
    _Error_Handler(__FILE__, __LINE__);
  }

  sMasterConfig.MasterOutputTrigger = TIM_TRGO_RESET;
  sMasterConfig.MasterSlaveMode = TIM_MASTERSLAVEMODE_DISABLE;
  if (HAL_TIMEx_MasterConfigSynchronization(&htim4, &sMasterConfig) != HAL_OK)
  {
    _Error_Handler(__FILE__, __LINE__);
  }

}

/* TIM8 init function */
static void MX_TIM8_Init(void)
{

  TIM_ClockConfigTypeDef sClockSourceConfig;
  TIM_MasterConfigTypeDef sMasterConfig;
  TIM_OC_InitTypeDef sConfigOC;
  TIM_BreakDeadTimeConfigTypeDef sBreakDeadTimeConfig;

  htim8.Instance = TIM8;
  htim8.Init.Prescaler = 72;
  htim8.Init.CounterMode = TIM_COUNTERMODE_UP;
  htim8.Init.Period = 100;
  htim8.Init.ClockDivision = TIM_CLOCKDIVISION_DIV1;
  htim8.Init.RepetitionCounter = 0;
  htim8.Init.AutoReloadPreload = TIM_AUTORELOAD_PRELOAD_DISABLE;
  if (HAL_TIM_Base_Init(&htim8) != HAL_OK)
  {
    _Error_Handler(__FILE__, __LINE__);
  }

  sClockSourceConfig.ClockSource = TIM_CLOCKSOURCE_INTERNAL;
  if (HAL_TIM_ConfigClockSource(&htim8, &sClockSourceConfig) != HAL_OK)
  {
    _Error_Handler(__FILE__, __LINE__);
  }

  if (HAL_TIM_PWM_Init(&htim8) != HAL_OK)
  {
    _Error_Handler(__FILE__, __LINE__);
  }

  sMasterConfig.MasterOutputTrigger = TIM_TRGO_RESET;
  sMasterConfig.MasterOutputTrigger2 = TIM_TRGO2_RESET;
  sMasterConfig.MasterSlaveMode = TIM_MASTERSLAVEMODE_DISABLE;
  if (HAL_TIMEx_MasterConfigSynchronization(&htim8, &sMasterConfig) != HAL_OK)
  {
    _Error_Handler(__FILE__, __LINE__);
  }

  sConfigOC.OCMode = TIM_OCMODE_PWM1;
  sConfigOC.Pulse = 0;
  sConfigOC.OCPolarity = TIM_OCPOLARITY_HIGH;
  sConfigOC.OCNPolarity = TIM_OCNPOLARITY_HIGH;
  sConfigOC.OCFastMode = TIM_OCFAST_DISABLE;
  sConfigOC.OCIdleState = TIM_OCIDLESTATE_RESET;
  sConfigOC.OCNIdleState = TIM_OCNIDLESTATE_RESET;
  if (HAL_TIM_PWM_ConfigChannel(&htim8, &sConfigOC, TIM_CHANNEL_2) != HAL_OK)
  {
    _Error_Handler(__FILE__, __LINE__);
  }

  if (HAL_TIM_PWM_ConfigChannel(&htim8, &sConfigOC, TIM_CHANNEL_3) != HAL_OK)
  {
    _Error_Handler(__FILE__, __LINE__);
  }

  if (HAL_TIM_PWM_ConfigChannel(&htim8, &sConfigOC, TIM_CHANNEL_4) != HAL_OK)
  {
    _Error_Handler(__FILE__, __LINE__);
  }

  sBreakDeadTimeConfig.OffStateRunMode = TIM_OSSR_DISABLE;
  sBreakDeadTimeConfig.OffStateIDLEMode = TIM_OSSI_DISABLE;
  sBreakDeadTimeConfig.LockLevel = TIM_LOCKLEVEL_OFF;
  sBreakDeadTimeConfig.DeadTime = 0;
  sBreakDeadTimeConfig.BreakState = TIM_BREAK_DISABLE;
  sBreakDeadTimeConfig.BreakPolarity = TIM_BREAKPOLARITY_HIGH;
  sBreakDeadTimeConfig.BreakFilter = 0;
  sBreakDeadTimeConfig.Break2State = TIM_BREAK2_DISABLE;
  sBreakDeadTimeConfig.Break2Polarity = TIM_BREAK2POLARITY_HIGH;
  sBreakDeadTimeConfig.Break2Filter = 0;
  sBreakDeadTimeConfig.AutomaticOutput = TIM_AUTOMATICOUTPUT_DISABLE;
  if (HAL_TIMEx_ConfigBreakDeadTime(&htim8, &sBreakDeadTimeConfig) != HAL_OK)
  {
    _Error_Handler(__FILE__, __LINE__);
  }

  HAL_TIM_MspPostInit(&htim8);

}

/* USART2 init function */
static void MX_USART2_UART_Init(void)
{

  huart2.Instance = USART2;
  huart2.Init.BaudRate = 115200;
  huart2.Init.WordLength = UART_WORDLENGTH_8B;
  huart2.Init.StopBits = UART_STOPBITS_1;
  huart2.Init.Parity = UART_PARITY_NONE;
  huart2.Init.Mode = UART_MODE_TX_RX;
  huart2.Init.HwFlowCtl = UART_HWCONTROL_NONE;
  huart2.Init.OverSampling = UART_OVERSAMPLING_16;
  huart2.Init.OneBitSampling = UART_ONE_BIT_SAMPLE_DISABLE;
  huart2.AdvancedInit.AdvFeatureInit = UART_ADVFEATURE_NO_INIT;
  if (HAL_UART_Init(&huart2) != HAL_OK)
  {
    _Error_Handler(__FILE__, __LINE__);
  }

}

/* USB init function */
static void MX_USB_PCD_Init(void)
{

  hpcd_USB_FS.Instance = USB;
  hpcd_USB_FS.Init.dev_endpoints = 8;
  hpcd_USB_FS.Init.speed = PCD_SPEED_FULL;
  hpcd_USB_FS.Init.ep0_mps = DEP0CTL_MPS_64;
  hpcd_USB_FS.Init.phy_itface = PCD_PHY_EMBEDDED;
  hpcd_USB_FS.Init.low_power_enable = DISABLE;
  hpcd_USB_FS.Init.battery_charging_enable = DISABLE;
  if (HAL_PCD_Init(&hpcd_USB_FS) != HAL_OK)
  {
    _Error_Handler(__FILE__, __LINE__);
  }

}

/** Configure pins as
        * Analog
        * Input
        * Output
        * EVENT_OUT
        * EXTI
        * Free pins are configured automatically as Analog (this feature is enabled through
        * the Code Generation settings)
*/
static void MX_GPIO_Init(void)
{

  GPIO_InitTypeDef GPIO_InitStruct;

  /* GPIO Ports Clock Enable */
  __HAL_RCC_GPIOE_CLK_ENABLE();
  __HAL_RCC_GPIOC_CLK_ENABLE();
  __HAL_RCC_GPIOF_CLK_ENABLE();
  __HAL_RCC_GPIOA_CLK_ENABLE();
  __HAL_RCC_GPIOB_CLK_ENABLE();
  __HAL_RCC_GPIOD_CLK_ENABLE();

  /*Configure GPIO pin Output Level */
  HAL_GPIO_WritePin(GPIOE, GPIO_PIN_2|GPIO_PIN_3|GPIO_PIN_4|GPIO_PIN_5
                          |GPIO_PIN_6|GPIO_PIN_0|GPIO_PIN_1, GPIO_PIN_RESET);

  /*Configure GPIO pin Output Level */
  HAL_GPIO_WritePin(GPIOC, GPIO_PIN_13|GPIO_PIN_0|GPIO_PIN_1|GPIO_PIN_2
                          |GPIO_PIN_3|GPIO_PIN_9|GPIO_PIN_10|GPIO_PIN_11
                          |GPIO_PIN_12, GPIO_PIN_RESET);

  /*Configure GPIO pin Output Level */
  HAL_GPIO_WritePin(GPIOA, GPIO_PIN_8|GPIO_PIN_9|GPIO_PIN_10|GPIO_PIN_15, GPIO_PIN_RESET);

  /*Configure GPIO pin Output Level */
  HAL_GPIO_WritePin(GPIOF, GPIO_PIN_6, GPIO_PIN_RESET);

  /*Configure GPIO pins : PE2 PE3 PE4 PE5
                           PE6 PE0 PE1 */
  GPIO_InitStruct.Pin = GPIO_PIN_2|GPIO_PIN_3|GPIO_PIN_4|GPIO_PIN_5
                          |GPIO_PIN_6|GPIO_PIN_0|GPIO_PIN_1;
  GPIO_InitStruct.Mode = GPIO_MODE_OUTPUT_PP;
  GPIO_InitStruct.Pull = GPIO_NOPULL;
  GPIO_InitStruct.Speed = GPIO_SPEED_FREQ_LOW;
  HAL_GPIO_Init(GPIOE, &GPIO_InitStruct);

  /*Configure GPIO pins : PC13 PC0 PC1 PC2
                           PC3 PC9 PC10 PC11
                           PC12 */
  GPIO_InitStruct.Pin = GPIO_PIN_13|GPIO_PIN_0|GPIO_PIN_1|GPIO_PIN_2
                          |GPIO_PIN_3|GPIO_PIN_9|GPIO_PIN_10|GPIO_PIN_11
                          |GPIO_PIN_12;
  GPIO_InitStruct.Mode = GPIO_MODE_OUTPUT_PP;
  GPIO_InitStruct.Pull = GPIO_NOPULL;
  GPIO_InitStruct.Speed = GPIO_SPEED_FREQ_LOW;
  HAL_GPIO_Init(GPIOC, &GPIO_InitStruct);

  /*Configure GPIO pins : PF9 PF10 PF2 PF4 */
  GPIO_InitStruct.Pin = GPIO_PIN_9|GPIO_PIN_10|GPIO_PIN_2|GPIO_PIN_4;
  GPIO_InitStruct.Mode = GPIO_MODE_ANALOG;
  GPIO_InitStruct.Pull = GPIO_NOPULL;
  HAL_GPIO_Init(GPIOF, &GPIO_InitStruct);

  /*Configure GPIO pin : PA0 */
  GPIO_InitStruct.Pin = GPIO_PIN_0;
  GPIO_InitStruct.Mode = GPIO_MODE_IT_RISING;
  GPIO_InitStruct.Pull = GPIO_PULLDOWN;
  HAL_GPIO_Init(GPIOA, &GPIO_InitStruct);

  /*Configure GPIO pins : PC4 PC5 */
  GPIO_InitStruct.Pin = GPIO_PIN_4|GPIO_PIN_5;
  GPIO_InitStruct.Mode = GPIO_MODE_ANALOG;
  GPIO_InitStruct.Pull = GPIO_NOPULL;
  HAL_GPIO_Init(GPIOC, &GPIO_InitStruct);

  /*Configure GPIO pins : PB0 PB2 PB13 PB14
                           PB15 PB4 PB5 PB8
                           PB9 */
  GPIO_InitStruct.Pin = GPIO_PIN_0|GPIO_PIN_2|GPIO_PIN_13|GPIO_PIN_14
                          |GPIO_PIN_15|GPIO_PIN_4|GPIO_PIN_5|GPIO_PIN_8
                          |GPIO_PIN_9;
  GPIO_InitStruct.Mode = GPIO_MODE_ANALOG;
  GPIO_InitStruct.Pull = GPIO_NOPULL;
  HAL_GPIO_Init(GPIOB, &GPIO_InitStruct);

  /*Configure GPIO pin : PE7 */
  GPIO_InitStruct.Pin = GPIO_PIN_7;
  GPIO_InitStruct.Mode = GPIO_MODE_ANALOG;
  GPIO_InitStruct.Pull = GPIO_NOPULL;
  HAL_GPIO_Init(GPIOE, &GPIO_InitStruct);

  /*Configure GPIO pins : PE8 PE10 PE12 PE15 */
  GPIO_InitStruct.Pin = GPIO_PIN_8|GPIO_PIN_10|GPIO_PIN_12|GPIO_PIN_15;
  GPIO_InitStruct.Mode = GPIO_MODE_INPUT;
  GPIO_InitStruct.Pull = GPIO_NOPULL;
  HAL_GPIO_Init(GPIOE, &GPIO_InitStruct);

  /*Configure GPIO pins : PD8 PD9 PD10 PD11
                           PD12 PD13 PD14 PD15
                           PD0 PD2 PD7 */
  GPIO_InitStruct.Pin = GPIO_PIN_8|GPIO_PIN_9|GPIO_PIN_10|GPIO_PIN_11
                          |GPIO_PIN_12|GPIO_PIN_13|GPIO_PIN_14|GPIO_PIN_15
                          |GPIO_PIN_0|GPIO_PIN_2|GPIO_PIN_7;
  GPIO_InitStruct.Mode = GPIO_MODE_ANALOG;
  GPIO_InitStruct.Pull = GPIO_NOPULL;
  HAL_GPIO_Init(GPIOD, &GPIO_InitStruct);

  /*Configure GPIO pins : PA8 PA9 PA10 PA15 */
  GPIO_InitStruct.Pin = GPIO_PIN_8|GPIO_PIN_9|GPIO_PIN_10|GPIO_PIN_15;
  GPIO_InitStruct.Mode = GPIO_MODE_OUTPUT_PP;
  GPIO_InitStruct.Pull = GPIO_NOPULL;
  GPIO_InitStruct.Speed = GPIO_SPEED_FREQ_LOW;
  HAL_GPIO_Init(GPIOA, &GPIO_InitStruct);

  /*Configure GPIO pin : PF6 */
  GPIO_InitStruct.Pin = GPIO_PIN_6;
  GPIO_InitStruct.Mode = GPIO_MODE_OUTPUT_PP;
  GPIO_InitStruct.Pull = GPIO_NOPULL;
  GPIO_InitStruct.Speed = GPIO_SPEED_FREQ_LOW;
  HAL_GPIO_Init(GPIOF, &GPIO_InitStruct);

  /*Configure GPIO pins : PD3 PD4 PD5 PD6 */
  GPIO_InitStruct.Pin = GPIO_PIN_3|GPIO_PIN_4|GPIO_PIN_5|GPIO_PIN_6;
  GPIO_InitStruct.Mode = GPIO_MODE_IT_RISING;
  GPIO_InitStruct.Pull = GPIO_PULLDOWN;
  HAL_GPIO_Init(GPIOD, &GPIO_InitStruct);

  /* EXTI interrupt init*/
  HAL_NVIC_SetPriority(EXTI0_IRQn, 1, 1);
  HAL_NVIC_EnableIRQ(EXTI0_IRQn);

  HAL_NVIC_SetPriority(EXTI3_IRQn, 1, 1);
  HAL_NVIC_EnableIRQ(EXTI3_IRQn);

  HAL_NVIC_SetPriority(EXTI4_IRQn, 1, 1);
  HAL_NVIC_EnableIRQ(EXTI4_IRQn);

  HAL_NVIC_SetPriority(EXTI9_5_IRQn, 1, 1);
  HAL_NVIC_EnableIRQ(EXTI9_5_IRQn);

}

void _Error_Handler(char *file, int line)
{
  while(1)
  {
  }
}

/************************ (C) COPYRIGHT STMicroelectronics *****END OF FILE****/
